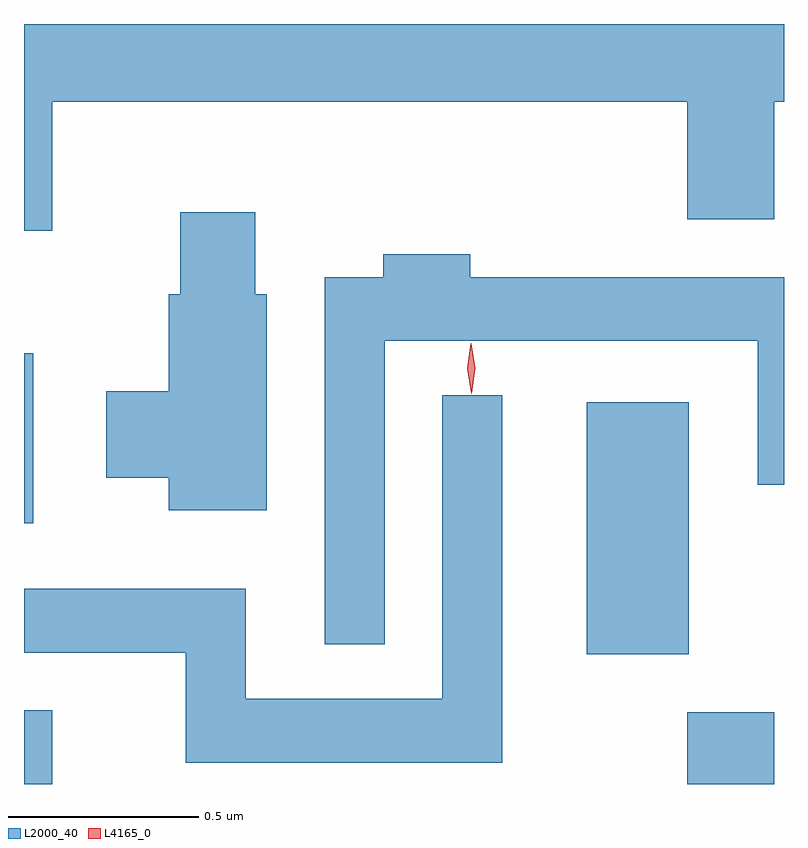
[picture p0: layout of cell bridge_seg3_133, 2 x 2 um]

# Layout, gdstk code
import gdstk
lib = gdstk.Library(unit=1e-6, precision=1e-09)
def R(c, l, rs):  # rectangles x0, y0, x1, y1
    for r in rs: c.add(gdstk.rectangle(r[:2], r[2:], *l))
def P(c, l, *ps):  # polygons
    for p in ps: c.add(gdstk.Polygon(p, *l))
L2000_40 = (2000, 40)
L4165_0 = (4165, 0)

bridge_seg3_133 = lib.new_cell('bridge_seg3_133')
R(bridge_seg3_133, L2000_40, [(881.995,1230.78,882.069,1230.974), (883.741,1230.78,883.969,1230.969), (883.476,1231.121,883.744,1231.784), (881.995,1231.466,882.019,1231.914)])
P(bridge_seg3_133, L2000_40, [(882.069,1232.576),(883.741,1232.576),(883.741,1232.266),(883.969,1232.266),(883.969,1232.576),(883.995,1232.576),(883.995,1232.78),(881.995,1232.78),(881.995,1232.236),(882.069,1232.236)],
  [(882.634,1232.069),(882.604,1232.069),(882.604,1232.284),(882.406,1232.284),(882.406,1232.069),(882.376,1232.069),(882.376,1231.814),(882.211,1231.814),(882.211,1231.586),(882.376,1231.586),(882.376,1231.501),(882.634,1231.501)],
  [(882.944,1231.946),(883.926,1231.946),(883.926,1231.568),(883.995,1231.568),(883.995,1232.114),(883.169,1232.114),(883.169,1232.174),(882.941,1232.174),(882.941,1232.114),(882.786,1232.114),(882.786,1231.148),(882.944,1231.148)],
  [(883.254,1231.803),(883.096,1231.803),(883.096,1231.004),(882.579,1231.004),(882.579,1231.294),(881.995,1231.294),(881.995,1231.126),(882.421,1231.126),(882.421,1230.836),(883.254,1230.836)])
P(bridge_seg3_133, L4165_0, [(883.172,1231.807),(883.172,1231.808),(883.162,1231.874),(883.171,1231.94),(883.172,1231.94),(883.172,1231.94),(883.182,1231.874),(883.173,1231.808)])

lib.write_gds('bridge_seg3_133.gds')
